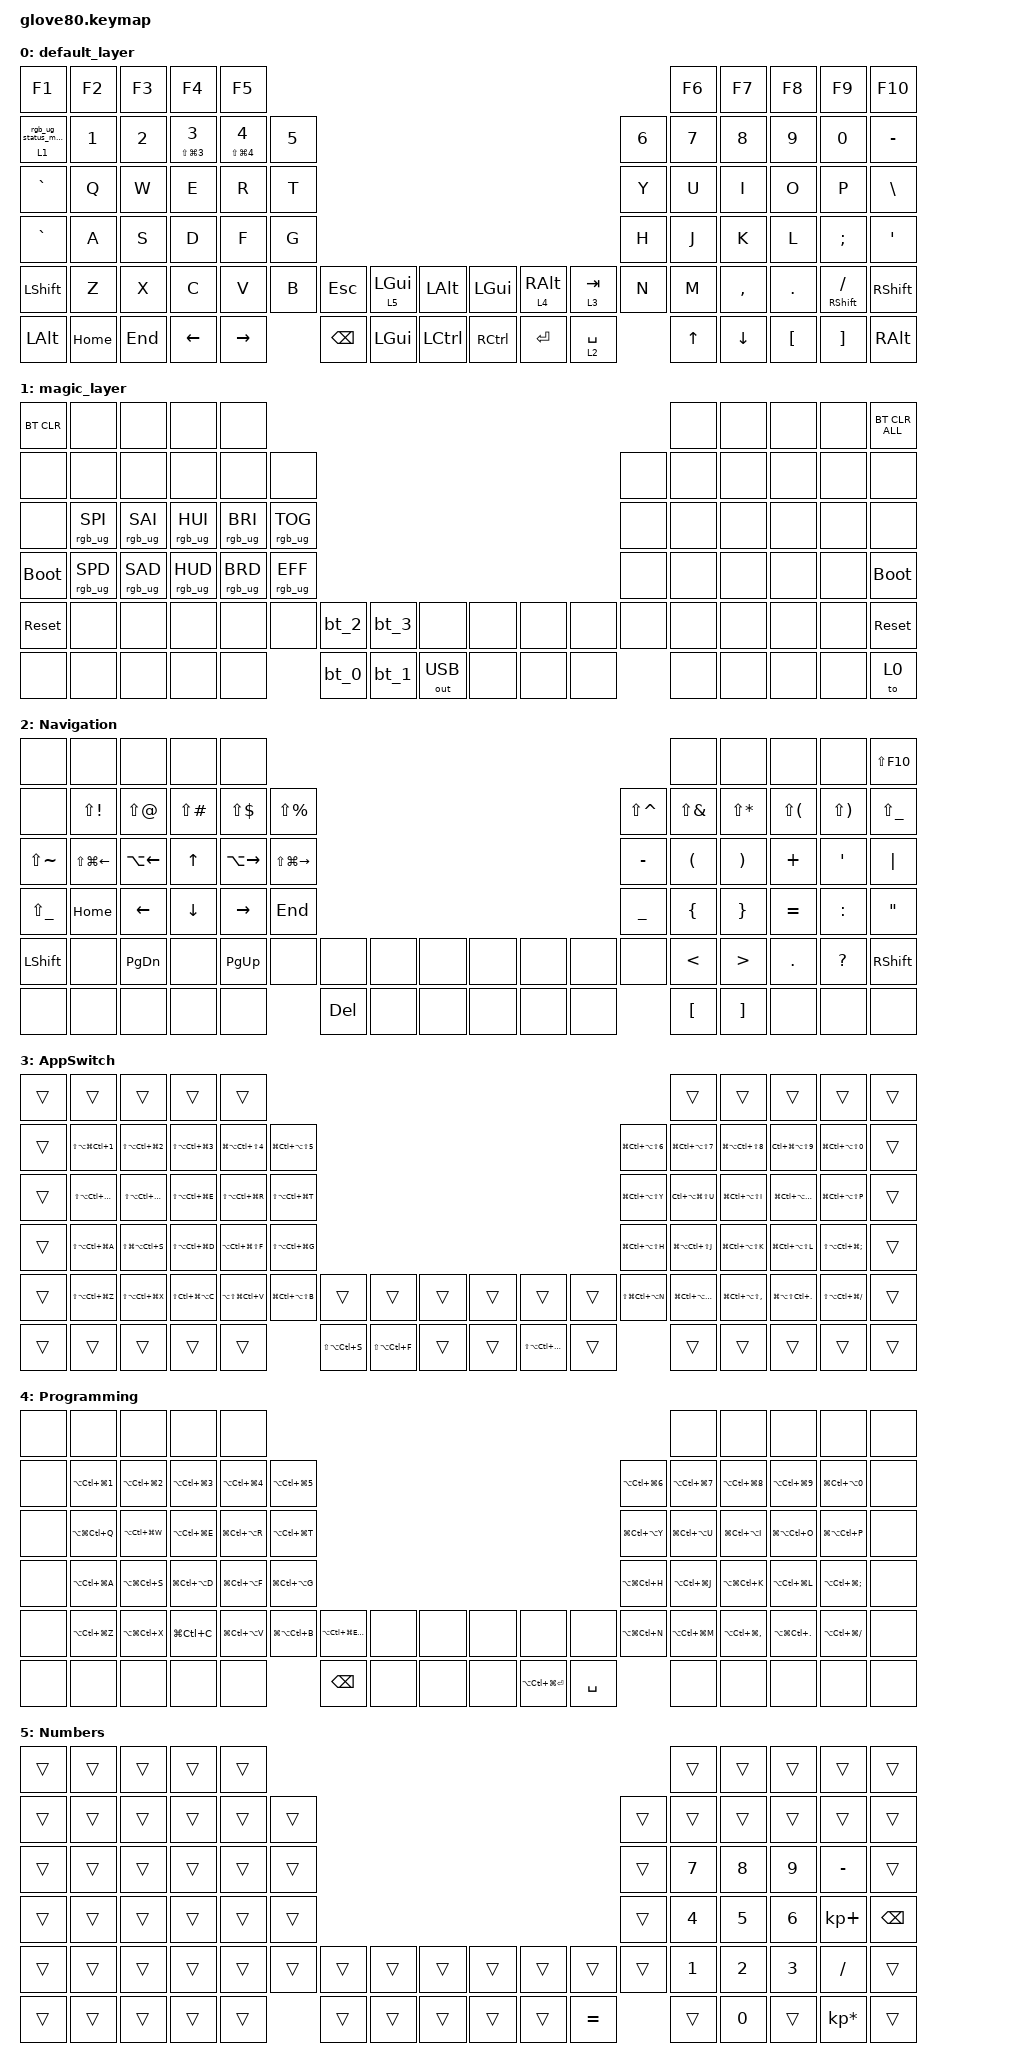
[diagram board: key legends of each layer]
/*
 * Copyright (c) 2020 The ZMK Contributors
 *
 * SPDX-License-Identifier: MIT
 */

#include <behaviors.dtsi>
#include <dt-bindings/zmk/bt.h>
#include <dt-bindings/zmk/keys.h>
#include <dt-bindings/zmk/outputs.h>
#include <dt-bindings/zmk/rgb.h>

#define HYPER LC(LS(LG(LALT)))

// layers

#define DEFAULT 0
#define LOWER 1
#define MAGIC 2
#define FACTORY_TEST 3

/ {
    behaviors {
        // For the "layer" key, it'd nice to be able to use it as either a shift or a toggle.
        // Configure it as a tap dance, so the first tap (or hold) is a &mo and the second tap is a &to

        thold: thold {
            compatible = "zmk,behavior-hold-tap";
            label = "THOLD";
            #binding-cells = <2>;
            tapping-term-ms = <210>;
            quick-tap-ms = <200>;
            require-prior-idle-ms = <0>;
            flavor = "tap-preferred";
            hold-trigger-key-positions = <10 11 12 13 14 15 22 23 24 25 26 27 34 35 36 37 38 39 46 47 48 49 50 51 64 65 66 67 68 16 17 18 19 20 21 28 29 30 31 32 33 40 41 42 43 44 45 58 59 60 61 62 63 75 76 77 78 79 0 1 2 3 4 5 6 7 8 9 17 18 19>;
            bindings = <&mo>, <&kp>;
        };

        homeLeft: homeLeft {
            compatible = "zmk,behavior-hold-tap";
            label = "HOMELEFT";
            bindings = <&kp>, <&kp>;

            #binding-cells = <2>;
            tapping-term-ms = <180>;
            quick-tap-ms = <150>;
            require-prior-idle-ms = <100>;
            flavor = "tap-preferred";
            hold-trigger-key-positions = <5 6 7 8 9 16 17 18 19 20 21 28 29 30 31 32 33 40 41 42 43 44 45 58 59 60 61 62 63 75 76 77 78 79 0 1 2 3 4 10 11 12 13 14 15 16 22 23 24 25 26 27 28 34 35 36 37 38 39 40 46 47 48 49 50 51 58 64 65 66 67 68>;
            retro-tap;
        };

        magic: magic {
            compatible = "zmk,behavior-hold-tap";
            label = "MAGIC";
            bindings = <&mo>, <&rgb_ug_status_macro>;

            #binding-cells = <2>;
            tapping-term-ms = <200>;
            flavor = "tap-preferred";
        };

        homeRight: homeRight {
            compatible = "zmk,behavior-hold-tap";
            label = "HOMERIGHT";
            bindings = <&kp>, <&kp>;

            #binding-cells = <2>;
            tapping-term-ms = <180>;
            quick-tap-ms = <150>;
            require-prior-idle-ms = <100>;
            flavor = "tap-preferred";
            hold-trigger-key-positions = <0 1 2 3 4 10 11 12 13 14 15 22 23 24 25 26 27 34 35 36 37 38 39 46 47 48 49 50 51 5 6 7 8 9 15 16 17 18 19 20 21 27 28 29 30 31 32 33 39 40 41 42 43 44 45 51 58 59 60 61 62 63 75 76 77 78 79 46 47 64 65 66 67 68>;
            retro-tap;
        };

        longHold: longHold {
            compatible = "zmk,behavior-hold-tap";
            label = "LONGHOLD";
            bindings = <&kp>, <&kp>;

            #binding-cells = <2>;
            tapping-term-ms = <500>;
            hold-trigger-key-positions = <0 1 2 3 4 5 6 7 8 9 10 11 12 13 14 15 16 17 18 19 20 21 22 23 24 25 26 27 28 29 30 31 32 33 34 35 36 37 38 39 40 41 42 43 44 45 46 47 48 49 50 51 52 53 54 55 56 57 58 59 60 61 62 63 64 65 66 67 68 69 70 71 72 73 74 75 76 77 78 79>;
            flavor = "tap-preferred";
        };
    };

    macros {
        rgb_ug_status_macro: rgb_ug_status_macro_0 {
            label = "RGB_UG_STATUS";
            compatible = "zmk,behavior-macro";
            #binding-cells = <0>;
            bindings = <&rgb_ug RGB_STATUS>;
        };

        bt_0: bt_profile_macro_0 {
            label = "BT_0";
            compatible = "zmk,behavior-macro";
            #binding-cells = <0>;
            bindings = <&out OUT_BLE &bt BT_SEL 0>;
        };

        bt_1: bt_profile_macro_1 {
            label = "BT_1";
            compatible = "zmk,behavior-macro";
            #binding-cells = <0>;
            bindings = <&out OUT_BLE &bt BT_SEL 1>;
        };

        bt_2: bt_profile_macro_2 {
            label = "BT_2";
            compatible = "zmk,behavior-macro";
            #binding-cells = <0>;
            bindings = <&out OUT_BLE &bt BT_SEL 2>;
        };

        bt_3: bt_profile_macro_3 {
            label = "BT_3";
            compatible = "zmk,behavior-macro";
            #binding-cells = <0>;
            bindings = <&out OUT_BLE &bt BT_SEL 3>;
        };
    };

    keymap {
        compatible = "zmk,keymap";

        default_layer {
            // ---------------------------------------------------------------------------------------------------------------------------------
            // |  F1   |  F2 |  F3 |  F4  |  F5  |                                                               |  F6   |  F7   |  F8  |   F9  |  F10 |
            // |  =    |  1  |  2  |  3   |  4   |  5   |                                                 |  6   |   7   |   8   |  9   |   0   |   -  |
            // |  TAB  |  Q  |  W  |  E   |  R   |  T   |                                                 |  Y   |   U   |   I   |  O   |   P   |   \  |
            // |  ESC  |  A  |  S  |  D   |  F   |  G   |                                                 |  H   |   J   |   K   |  L   |   ;   |   '  |
            // |   `   |  Z  |  X  |  C   |  V   |  B   | LSHFT | LCTRL | LOWER | | LGUI  | RCTRL | RSHFT |  N   |   M   |   ,   |  .   |   /   | PGUP |
            // | MAGIC | HOME| END | LEFT | RIGHT|      | BSPC  | DEL   | LALT  | | RALT  | RET   | SPACE |      |  UP   | DOWN  |  [   |   ]   | PGDN |

            bindings = <
&kp F1          &kp F2    &kp F3   &kp F4                         &kp F5                                                                                                                                                 &kp F6  &kp F7     &kp F8    &kp F9                        &kp F10
&magic 1 0      &kp N1    &kp N2   &longHold LS(LG(N3)) NUMBER_3  &longHold LS(LG(N4)) NUMBER_4  &kp N5                                                                                                          &kp N6  &kp N7  &kp N8     &kp N9    &kp N0                        &kp MINUS
&kp GRAVE       &kp Q     &kp W    &kp E                          &kp R                          &kp T                                                                                                           &kp Y   &kp U   &kp I      &kp O     &kp P                         &kp BSLH
&kp GRAVE       &kp A     &kp S    &kp D                          &kp F                          &kp G                                                                                                           &kp H   &kp J   &kp K      &kp L     &kp SEMI                      &kp SQT
&kp LEFT_SHIFT  &kp Z     &kp X    &kp C                          &kp V                          &kp B   &kp ESCAPE  &thold 5 LEFT_GUI  &kp LEFT_ALT      &kp LGUI           &thold 4 RIGHT_ALT  &thold 3 TAB    &kp N   &kp M   &kp COMMA  &kp DOT   &homeRight RIGHT_SHIFT SLASH  &kp RSHIFT
&kp LEFT_ALT    &kp HOME  &kp END  &kp LEFT                       &kp RIGHT                              &kp BSPC    &kp LEFT_GUI       &kp LEFT_CONTROL  &kp RIGHT_CONTROL  &kp RET             &thold 2 SPACE          &kp UP  &kp DOWN   &kp LBKT  &kp RBKT                      &kp RIGHT_ALT
            >;
        };

        magic_layer {
            bindings = <
&bt BT_CLR   &none            &none            &none            &none                                                                                     &none  &none  &none  &none  &bt BT_CLR_ALL
&none        &none            &none            &none            &none            &none                                                             &none  &none  &none  &none  &none  &none
&none        &rgb_ug RGB_SPI  &rgb_ug RGB_SAI  &rgb_ug RGB_HUI  &rgb_ug RGB_BRI  &rgb_ug RGB_TOG                                                   &none  &none  &none  &none  &none  &none
&bootloader  &rgb_ug RGB_SPD  &rgb_ug RGB_SAD  &rgb_ug RGB_HUD  &rgb_ug RGB_BRD  &rgb_ug RGB_EFF                                                   &none  &none  &none  &none  &none  &bootloader
&sys_reset   &none            &none            &none            &none            &none            &bt_2  &bt_3  &none         &none  &none  &none  &none  &none  &none  &none  &none  &sys_reset
&none        &none            &none            &none            &none                             &bt_0  &bt_1  &out OUT_USB  &none  &none  &none         &none  &none  &none  &none  &to 0
            >;
        };

        Navigation {
            bindings = <
&none           &none                   &none          &none          &none                                                                                            &none                 &none                  &none         &none             &kp LS(F10)
&none           &kp LS(EXCL)            &kp LS(AT)     &kp LS(POUND)  &kp LS(DLLR)   &kp LS(PRCNT)                                                     &kp LS(CARET)   &kp LS(AMPS)          &kp LS(STAR)           &kp LS(LPAR)  &kp LS(RPAR)      &kp LS(UNDER)
&kp LS(TILDE)   &kp LS(LG(LEFT_ARROW))  &kp LA(LEFT)   &kp UP         &kp LA(RIGHT)  &kp LS(LG(RIGHT))                                                 &kp MINUS       &kp LEFT_PARENTHESIS  &kp RIGHT_PARENTHESIS  &kp PLUS      &kp SINGLE_QUOTE  &kp PIPE
&kp LS(UNDER)   &kp HOME                &kp LEFT       &kp DOWN       &kp RIGHT      &kp END                                                           &kp UNDERSCORE  &kp LEFT_BRACE        &kp RIGHT_BRACE        &kp EQUAL     &kp COLON         &kp DOUBLE_QUOTES
&kp LEFT_SHIFT  &none                   &kp PAGE_DOWN  &none          &kp PAGE_UP    &none              &none       &none  &none  &none  &none  &none  &none           &kp LESS_THAN         &kp GREATER_THAN       &kp PERIOD    &kp QUESTION      &kp RIGHT_SHIFT
&none           &none                   &none          &none          &none                             &kp DELETE  &none  &none  &none  &none  &none                  &kp LEFT_BRACKET      &kp RIGHT_BRACKET      &none         &none             &none
            >;
        };

        AppSwitch {
            bindings = <
&trans  &trans                  &trans                  &trans                  &trans                                                                                                                                                         &trans                  &trans                     &trans                   &trans                    &trans
&trans  &kp LS(LA(LG(LC(N1))))  &kp LS(LA(LC(LG(N2))))  &kp LS(LA(LC(LG(N3))))  &kp LG(LA(LC(LS(N4))))  &kp LG(LC(LA(LS(N5))))                                                                                         &kp LG(LC(LA(LS(N6))))  &kp LG(LC(LA(LS(N7))))  &kp LG(LA(LC(LS(N8))))     &kp LC(LG(LA(LS(N9))))   &kp LG(LC(LA(LS(N0))))    &trans
&trans  &kp LS(LA(LC(LG(Q))))   &kp LS(LA(LC(LG(W))))   &kp LS(LA(LC(LG(E))))   &kp LS(LA(LC(LG(R))))   &kp LS(LA(LC(LG(T))))                                                                                          &kp LG(LC(LA(LS(Y))))   &kp LC(LA(LG(LS(U))))   &kp LG(LC(LA(LS(I))))      &kp LG(LC(LA(LS(O))))    &kp LG(LC(LA(LS(P))))     &trans
&trans  &kp LS(LA(LC(LG(A))))   &kp LS(LG(LA(LC(S))))   &kp LS(LA(LC(LG(D))))   &kp LA(LC(LG(LS(F))))   &kp LS(LA(LC(LG(G))))                                                                                          &kp LG(LC(LA(LS(H))))   &kp LG(LA(LC(LS(J))))   &kp LG(LC(LA(LS(K))))      &kp LG(LC(LA(LS(L))))    &kp LS(LA(LC(LG(SEMI))))  &trans
&trans  &kp LS(LA(LC(LG(Z))))   &kp LS(LA(LC(LG(X))))   &kp LS(LC(LG(LA(C))))   &kp LA(LS(LG(LC(V))))   &kp LG(LC(LA(LS(B))))   &trans             &trans             &trans  &trans  &trans                   &trans  &kp LS(LG(LC(LA(N))))   &kp LG(LC(LA(LS(M))))   &kp LG(LC(LA(LS(COMMA))))  &kp LG(LA(LS(LC(DOT))))  &kp LS(LA(LC(LG(FSLH))))  &trans
&trans  &trans                  &trans                  &trans                  &trans                                          &kp LS(LA(LC(S)))  &kp LS(LA(LC(F)))  &trans  &trans  &kp LS(LA(LC(LG(RET))))  &trans                          &trans                  &trans                     &trans                   &trans                    &trans
            >;
        };

        Programming {
            bindings = <
&none  &none               &none               &none               &none                                                                                                                                    &none               &none                  &none                &none                 &none
&none  &kp LA(LC(LG(N1)))  &kp LA(LC(LG(N2)))  &kp LA(LC(LG(N3)))  &kp LA(LC(LG(N4)))  &kp LA(LC(LG(N5)))                                                                               &kp LA(LC(LG(N6)))  &kp LA(LC(LG(N7)))  &kp LA(LC(LG(N8)))     &kp LA(LC(LG(N9)))   &kp LG(LC(LA(N0)))    &none
&none  &kp LA(LG(LC(Q)))   &kp LA(LC(LG(W)))   &kp LA(LC(LG(E)))   &kp LG(LC(LA(R)))   &kp LA(LC(LG(T)))                                                                                &kp LG(LC(LA(Y)))   &kp LG(LC(LA(U)))   &kp LG(LC(LA(I)))      &kp LG(LA(LC(O)))    &kp LG(LA(LC(P)))     &none
&none  &kp LA(LC(LG(A)))   &kp LA(LG(LC(S)))   &kp LG(LC(LA(D)))   &kp LG(LC(LA(F)))   &kp LG(LC(LA(G)))                                                                                &kp LA(LG(LC(H)))   &kp LA(LC(LG(J)))   &kp LA(LG(LC(K)))      &kp LA(LC(LG(L)))    &kp LA(LC(LG(SEMI)))  &none
&none  &kp LA(LC(LG(Z)))   &kp LA(LG(LC(X)))   &kp LG(LC(C))       &kp LG(LC(LA(V)))   &kp LG(LA(LC(B)))   &kp LA(LC(LG(ESCAPE)))  &none  &none  &none  &none                &none      &kp LA(LG(LC(N)))   &kp LA(LC(LG(M)))   &kp LA(LC(LG(COMMA)))  &kp LA(LG(LC(DOT)))  &kp LA(LC(LG(FSLH)))  &none
&none  &none               &none               &none               &none                                   &kp BSPC                &none  &none  &none  &kp LA(LC(LG(RET)))  &kp SPACE                      &none               &none                  &none                &none                 &none
            >;
        };

        Numbers {
            bindings = <
&trans  &trans  &trans  &trans  &trans                                                                     &trans  &trans  &trans  &trans           &trans
&trans  &trans  &trans  &trans  &trans  &trans                                                     &trans  &trans  &trans  &trans  &trans           &trans
&trans  &trans  &trans  &trans  &trans  &trans                                                     &trans  &kp N7  &kp N8  &kp N9  &kp MINUS        &trans
&trans  &trans  &trans  &trans  &trans  &trans                                                     &trans  &kp N4  &kp N5  &kp N6  &kp KP_PLUS      &kp BSPC
&trans  &trans  &trans  &trans  &trans  &trans  &trans  &trans  &trans  &trans  &trans  &trans     &trans  &kp N1  &kp N2  &kp N3  &kp SLASH        &trans
&trans  &trans  &trans  &trans  &trans          &trans  &trans  &trans  &trans  &trans  &kp EQUAL          &trans  &kp N0  &trans  &kp KP_ASTERISK  &trans
            >;
        };
    };
};
